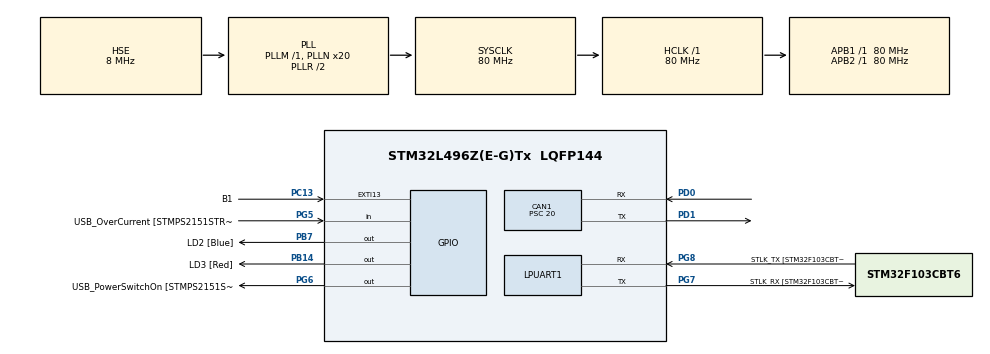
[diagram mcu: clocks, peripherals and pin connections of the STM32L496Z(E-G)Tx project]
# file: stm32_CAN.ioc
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CAN1.BS1=CAN_BS1_13TQ
CAN1.BS2=CAN_BS2_2TQ
CAN1.CalculateBaudRate=250000
CAN1.CalculateTimeBit=4000
CAN1.CalculateTimeQuantum=250.0
CAN1.Prescaler=20
Mcu.Family=STM32L4
Mcu.Name=STM32L496Z(E-G)Tx
Mcu.Package=LQFP144
NVIC.PriorityGroup=NVIC_PRIORITYGROUP_4
PA10.GPIO_Label=USB_ID
PA10.Signal=USB_OTG_FS_ID
PA11.GPIO_Label=USB_DM
PA11.Signal=USB_OTG_FS_DM
PA12.GPIO_Label=USB_DP
PA12.Signal=USB_OTG_FS_DP
PA13\ (JTMS/SWDIO).GPIO_Label=TMS
PA13\ (JTMS/SWDIO).Mode=Trace_Asynchronous_SW
PA13\ (JTMS/SWDIO).Signal=SYS_JTMS-SWDIO
PA14\ (JTCK/SWCLK).GPIO_Label=TCK
PA14\ (JTCK/SWCLK).Mode=Trace_Asynchronous_SW
PA14\ (JTCK/SWCLK).Signal=SYS_JTCK-SWCLK
PA8.GPIO_Label=USB_SOF [TP1]
PA8.Signal=USB_OTG_FS_SOF
PA9.GPIO_Label=USB_VBUS
PA9.Signal=USB_OTG_FS_VBUS
PB14.GPIO_Label=LD3 [Red]
PB14.Signal=GPIO_Output
PB3\ (JTDO/TRACESWO).GPIO_Label=SWO
PB3\ (JTDO/TRACESWO).Mode=Trace_Asynchronous_SW
PB3\ (JTDO/TRACESWO).Signal=SYS_JTDO-SWO
PB7.GPIO_Label=LD2 [Blue]
PB7.Signal=GPIO_Output
PC13.GPIO_Label=B1
PC13.Signal=GPXTI13
PC14-OSC32_IN\ (PC14).Mode=LSE-External-Oscillator
PC14-OSC32_IN\ (PC14).Signal=RCC_OSC32_IN
PC15-OSC32_OUT\ (PC15).Mode=LSE-External-Oscillator
PC15-OSC32_OUT\ (PC15).Signal=RCC_OSC32_OUT
PD0.Mode=CAN_Activate
PD0.Signal=CAN1_RX
PD1.Mode=CAN_Activate
PD1.Signal=CAN1_TX
PG5.GPIO_Label=USB_OverCurrent [STMPS2151STR_FAULT]
PG5.Signal=GPIO_Input
PG6.GPIO_Label=USB_PowerSwitchOn [STMPS2151STR_EN]
PG6.Signal=GPIO_Output
PG7.GPIO_Label=STLK_RX [STM32F103CBT6_PA3]
PG7.Mode=Asynchronous
PG7.Signal=LPUART1_TX
PG8.GPIO_Label=STLK_TX [STM32F103CBT6_PA2]
PG8.Mode=Asynchronous
PG8.Signal=LPUART1_RX
PH0-OSC_IN\ (PH0).Mode=HSE-External-Clock-Source
PH0-OSC_IN\ (PH0).Signal=RCC_OSC_IN
PH1-OSC_OUT\ (PH1).Signal=RCC_OSC_OUT
ProjectManager.HeapSize=0x200
ProjectManager.StackSize=0x400
ProjectManager.TargetToolchain=STM32CubeIDE
RCC.48MHZClocksFreq_Value=24000000
RCC.ADCFreq_Value=96000000
RCC.AHBFreq_Value=80000000
RCC.APB1Freq_Value=80000000
RCC.APB1TimFreq_Value=80000000
RCC.APB2Freq_Value=80000000
RCC.APB2TimFreq_Value=80000000
RCC.CortexFreq_Value=80000000
RCC.HCLKFreq_Value=80000000
RCC.HSE_VALUE=8000000
RCC.HSI48_VALUE=48000000
RCC.HSI_VALUE=16000000
RCC.MSI_VALUE=4000000
RCC.PLLMUL=RCC_PLL_MUL9
RCC.PLLN=20
RCC.PLLSAI1N=24
RCC.PLLSAI1Q=RCC_PLLQ_DIV4
RCC.PLLSourceVirtual=RCC_PLLSOURCE_HSE
RCC.PRESCALERUSB=RCC_USBCLKSOURCE_PLL_DIV1_5
RCC.SYSCLKFreq_VALUE=80000000
RCC.SYSCLKSource=RCC_SYSCLKSOURCE_PLLCLK
RCC.SYSCLKSourceVirtual=RCC_SYSCLKSOURCE_PLLCLK
RCC.USBFreq_Value=48000000
RCC.VCOOutputFreq_Value=160000000
board=NUCLEO-L496ZG

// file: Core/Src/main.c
/* USER CODE BEGIN Header */
/**
  ******************************************************************************
  * @file           : main.c
  * @brief          : Main program body
  ******************************************************************************
  * @attention
  *
  * Copyright (c) 2025 STMicroelectronics.
  * All rights reserved.
  *
  * This software is licensed under terms that can be found in the LICENSE file
  * in the root directory of this software component.
  * If no LICENSE file comes with this software, it is provided AS-IS.
  *
  ******************************************************************************
  */
/* USER CODE END Header */
#include "main.h"

/* USER CODE BEGIN PD */
CAN_TxHeaderTypeDef   TxHeader;
CAN_RxHeaderTypeDef   RxHeader;
uint8_t               TxData[8];
uint8_t               RxData[8];
uint32_t              TxMailbox;
/* USER CODE END PD */

CAN_HandleTypeDef hcan1;

UART_HandleTypeDef hlpuart1;

void SystemClock_Config(void);
static void MX_GPIO_Init(void);
static void MX_LPUART1_UART_Init(void);
static void MX_CAN1_Init(void);

int main(void)
{

  /* MCU Configuration--------------------------------------------------------*/

  /* Reset of all peripherals, Initializes the Flash interface and the Systick. */
  HAL_Init();

  /* Configure the system clock */
  SystemClock_Config();

  /* Initialize all configured peripherals */
  MX_GPIO_Init();
  MX_LPUART1_UART_Init();
  MX_CAN1_Init();
  /* USER CODE BEGIN 2 */
  CAN_FilterTypeDef sFilterConfig;

    sFilterConfig.FilterBank = 0;
    sFilterConfig.FilterMode = CAN_FILTERMODE_IDMASK;
    sFilterConfig.FilterScale = CAN_FILTERSCALE_32BIT;
    sFilterConfig.FilterIdHigh = 0x0000;
    sFilterConfig.FilterIdLow = 0x0000;
    sFilterConfig.FilterMaskIdHigh = 0x0000;
    sFilterConfig.FilterMaskIdLow = 0x0000;
    sFilterConfig.FilterFIFOAssignment = CAN_RX_FIFO0;
    sFilterConfig.FilterActivation = ENABLE;
    sFilterConfig.SlaveStartFilterBank = 14;

    if (HAL_CAN_ConfigFilter(&hcan1, &sFilterConfig) != HAL_OK)
    {
      Error_Handler();
    }
    // 2. เริ่มการทำงานของ CAN
      if (HAL_CAN_Start(&hcan1) != HAL_OK)
      {
        Error_Handler();
      }

      // 3. เปิดใช้งาน Interrupt (ถ้าใช้)
      if (HAL_CAN_ActivateNotification(&hcan1, CAN_IT_RX_FIFO0_MSG_PENDING) != HAL_OK)
      {
        Error_Handler();
      }

      // 4. เตรียมข้อมูลที่จะส่ง (ตัวอย่าง)
      TxHeader.StdId = 0x103; // CAN ID
      TxHeader.RTR = CAN_RTR_DATA;
      TxHeader.IDE = CAN_ID_STD;
      TxHeader.DLC = 2; // ส่งข้อมูล 2 bytes
      TxHeader.TransmitGlobalTime = DISABLE;
      TxData[0] = 0xAA;
      TxData[1] = 0xBB;
  /* USER CODE END 2 */

  /* Infinite loop */
  /* USER CODE BEGIN WHILE */
  while (1)
  {
	  if (HAL_CAN_AddTxMessage(&hcan1, &TxHeader, TxData, &TxMailbox) != HAL_OK)
	    {
	       // จัดการ Error
	    }
	  HAL_Delay(1500);
    /* USER CODE END WHILE */

  }
}

void SystemClock_Config(void)
{
  RCC_OscInitTypeDef RCC_OscInitStruct = {0};
  RCC_ClkInitTypeDef RCC_ClkInitStruct = {0};

  /** Configure the main internal regulator output voltage
  */
  if (HAL_PWREx_ControlVoltageScaling(PWR_REGULATOR_VOLTAGE_SCALE1) != HAL_OK)
  {
    Error_Handler();
  }

  /** Initializes the RCC Oscillators according to the specified parameters
  * in the RCC_OscInitTypeDef structure.
  */
  RCC_OscInitStruct.OscillatorType = RCC_OSCILLATORTYPE_HSE;
  RCC_OscInitStruct.HSEState = RCC_HSE_BYPASS;
  RCC_OscInitStruct.PLL.PLLState = RCC_PLL_ON;
  RCC_OscInitStruct.PLL.PLLSource = RCC_PLLSOURCE_HSE;
  RCC_OscInitStruct.PLL.PLLM = 1;
  RCC_OscInitStruct.PLL.PLLN = 20;
  RCC_OscInitStruct.PLL.PLLP = RCC_PLLP_DIV2;
  RCC_OscInitStruct.PLL.PLLQ = RCC_PLLQ_DIV2;
  RCC_OscInitStruct.PLL.PLLR = RCC_PLLR_DIV2;
  if (HAL_RCC_OscConfig(&RCC_OscInitStruct) != HAL_OK)
  {
    Error_Handler();
  }

  /** Initializes the CPU, AHB and APB buses clocks
  */
  RCC_ClkInitStruct.ClockType = RCC_CLOCKTYPE_HCLK|RCC_CLOCKTYPE_SYSCLK
                              |RCC_CLOCKTYPE_PCLK1|RCC_CLOCKTYPE_PCLK2;
  RCC_ClkInitStruct.SYSCLKSource = RCC_SYSCLKSOURCE_PLLCLK;
  RCC_ClkInitStruct.AHBCLKDivider = RCC_SYSCLK_DIV1;
  RCC_ClkInitStruct.APB1CLKDivider = RCC_HCLK_DIV1;
  RCC_ClkInitStruct.APB2CLKDivider = RCC_HCLK_DIV1;

  if (HAL_RCC_ClockConfig(&RCC_ClkInitStruct, FLASH_LATENCY_4) != HAL_OK)
  {
    Error_Handler();
  }
}

static void MX_CAN1_Init(void)
{

  hcan1.Instance = CAN1;
  hcan1.Init.Prescaler = 20;
  hcan1.Init.Mode = CAN_MODE_NORMAL;
  hcan1.Init.SyncJumpWidth = CAN_SJW_1TQ;
  hcan1.Init.TimeSeg1 = CAN_BS1_13TQ;
  hcan1.Init.TimeSeg2 = CAN_BS2_2TQ;
  hcan1.Init.TimeTriggeredMode = DISABLE;
  hcan1.Init.AutoBusOff = DISABLE;
  hcan1.Init.AutoWakeUp = DISABLE;
  hcan1.Init.AutoRetransmission = DISABLE;
  hcan1.Init.ReceiveFifoLocked = DISABLE;
  hcan1.Init.TransmitFifoPriority = DISABLE;
  if (HAL_CAN_Init(&hcan1) != HAL_OK)
  {
    Error_Handler();
  }

}

static void MX_LPUART1_UART_Init(void)
{

  hlpuart1.Instance = LPUART1;
  hlpuart1.Init.BaudRate = 209700;
  hlpuart1.Init.WordLength = UART_WORDLENGTH_7B;
  hlpuart1.Init.StopBits = UART_STOPBITS_1;
  hlpuart1.Init.Parity = UART_PARITY_NONE;
  hlpuart1.Init.Mode = UART_MODE_TX_RX;
  hlpuart1.Init.HwFlowCtl = UART_HWCONTROL_NONE;
  hlpuart1.Init.OneBitSampling = UART_ONE_BIT_SAMPLE_DISABLE;
  hlpuart1.AdvancedInit.AdvFeatureInit = UART_ADVFEATURE_NO_INIT;
  if (HAL_UART_Init(&hlpuart1) != HAL_OK)
  {
    Error_Handler();
  }

}

static void MX_GPIO_Init(void)
{
  GPIO_InitTypeDef GPIO_InitStruct = {0};

  /* GPIO Ports Clock Enable */
  __HAL_RCC_GPIOC_CLK_ENABLE();
  __HAL_RCC_GPIOH_CLK_ENABLE();
  __HAL_RCC_GPIOB_CLK_ENABLE();
  __HAL_RCC_GPIOG_CLK_ENABLE();
  HAL_PWREx_EnableVddIO2();
  __HAL_RCC_GPIOA_CLK_ENABLE();
  __HAL_RCC_GPIOD_CLK_ENABLE();

  /*Configure GPIO pin Output Level */
  HAL_GPIO_WritePin(GPIOB, LD3_Pin|LD2_Pin, GPIO_PIN_RESET);

  /*Configure GPIO pin Output Level */
  HAL_GPIO_WritePin(USB_PowerSwitchOn_GPIO_Port, USB_PowerSwitchOn_Pin, GPIO_PIN_RESET);

  /*Configure GPIO pin : B1_Pin */
  GPIO_InitStruct.Pin = B1_Pin;
  GPIO_InitStruct.Mode = GPIO_MODE_IT_RISING;
  GPIO_InitStruct.Pull = GPIO_NOPULL;
  HAL_GPIO_Init(B1_GPIO_Port, &GPIO_InitStruct);

  /*Configure GPIO pins : LD3_Pin LD2_Pin */
  GPIO_InitStruct.Pin = LD3_Pin|LD2_Pin;
  GPIO_InitStruct.Mode = GPIO_MODE_OUTPUT_PP;
  GPIO_InitStruct.Pull = GPIO_NOPULL;
  GPIO_InitStruct.Speed = GPIO_SPEED_FREQ_LOW;
  HAL_GPIO_Init(GPIOB, &GPIO_InitStruct);

  /*Configure GPIO pin : USB_OverCurrent_Pin */
  GPIO_InitStruct.Pin = USB_OverCurrent_Pin;
  GPIO_InitStruct.Mode = GPIO_MODE_INPUT;
  GPIO_InitStruct.Pull = GPIO_NOPULL;
  HAL_GPIO_Init(USB_OverCurrent_GPIO_Port, &GPIO_InitStruct);

  /*Configure GPIO pin : USB_PowerSwitchOn_Pin */
  GPIO_InitStruct.Pin = USB_PowerSwitchOn_Pin;
  GPIO_InitStruct.Mode = GPIO_MODE_OUTPUT_PP;
  GPIO_InitStruct.Pull = GPIO_NOPULL;
  GPIO_InitStruct.Speed = GPIO_SPEED_FREQ_LOW;
  HAL_GPIO_Init(USB_PowerSwitchOn_GPIO_Port, &GPIO_InitStruct);

  /*Configure GPIO pins : USB_SOF_Pin USB_ID_Pin USB_DM_Pin USB_DP_Pin */
  GPIO_InitStruct.Pin = USB_SOF_Pin|USB_ID_Pin|USB_DM_Pin|USB_DP_Pin;
  GPIO_InitStruct.Mode = GPIO_MODE_AF_PP;
  GPIO_InitStruct.Pull = GPIO_NOPULL;
  GPIO_InitStruct.Speed = GPIO_SPEED_FREQ_VERY_HIGH;
  GPIO_InitStruct.Alternate = GPIO_AF10_OTG_FS;
  HAL_GPIO_Init(GPIOA, &GPIO_InitStruct);

}

void Error_Handler(void)
{
  __disable_irq();
  while (1)
  {
  }
}
